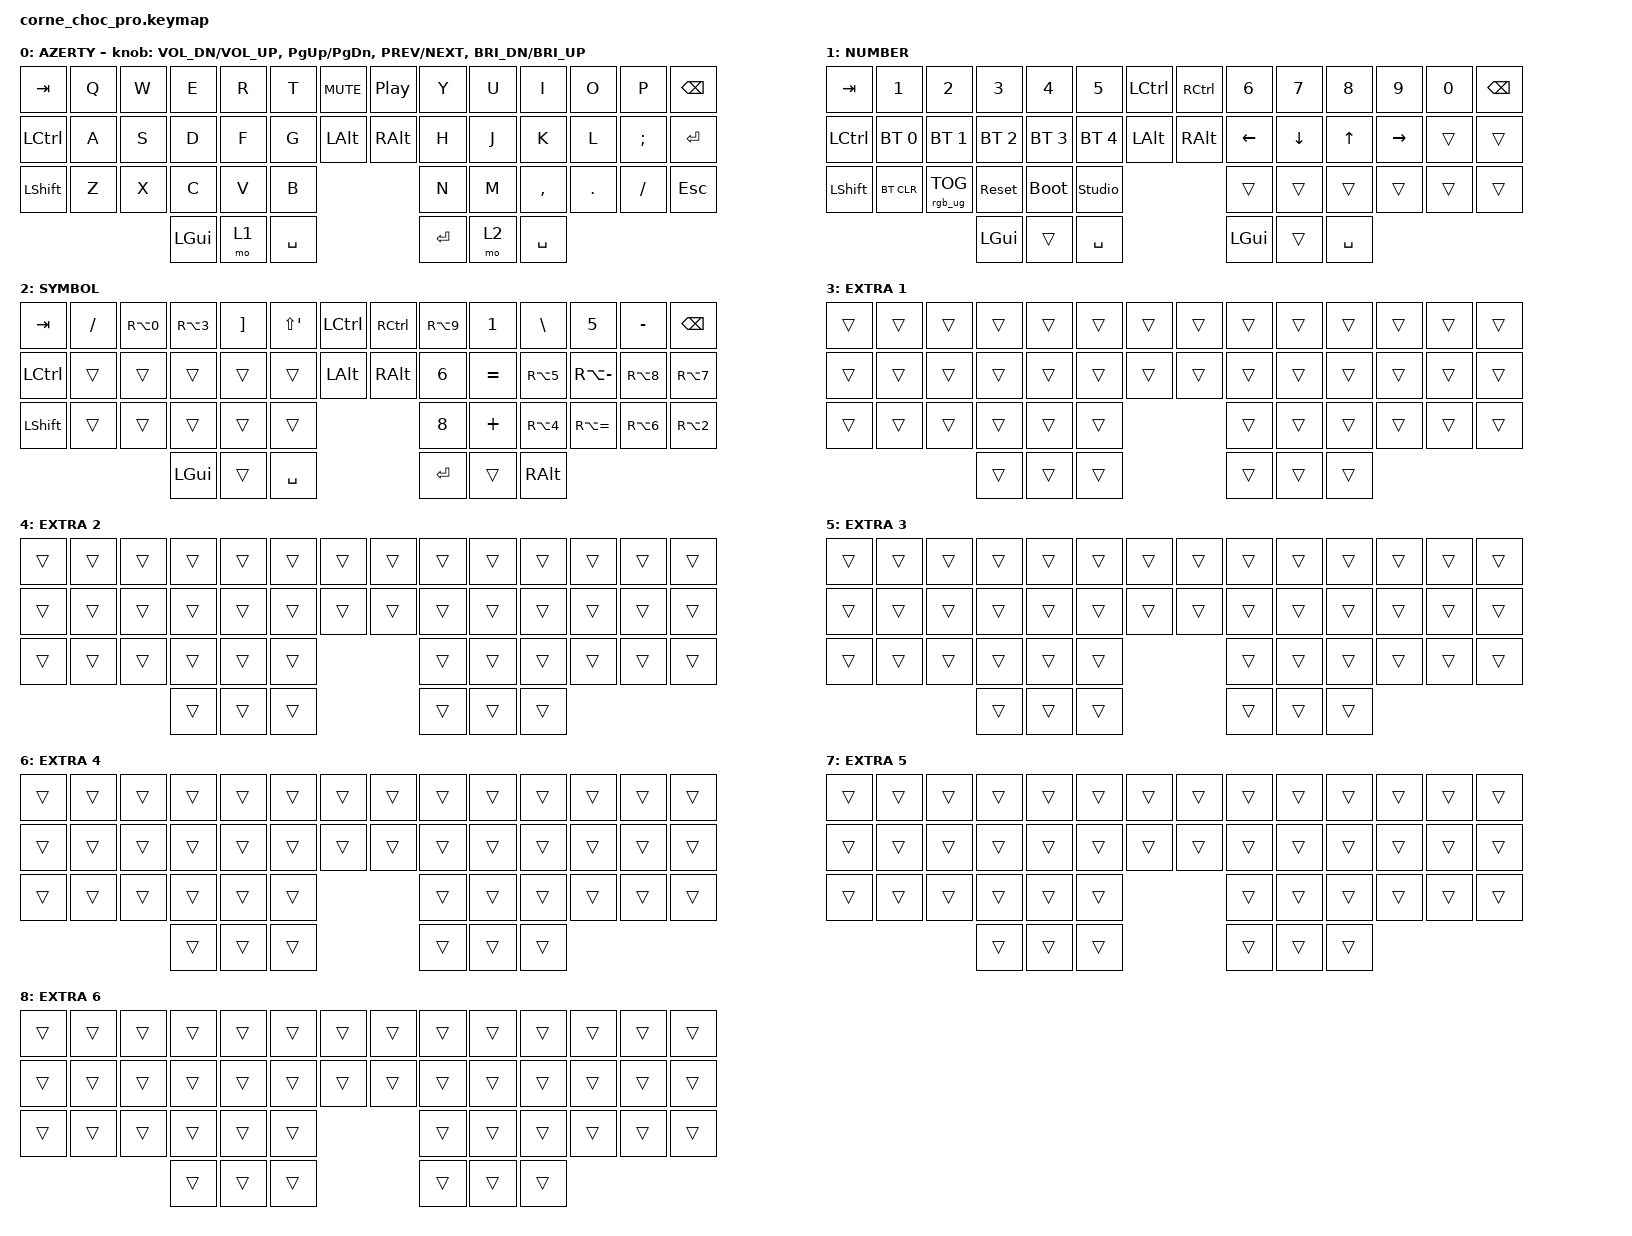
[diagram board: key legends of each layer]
/*
 * Copyright (c) 2020 The ZMK Contributors
 *
 * SPDX-License-Identifier: MIT
 */

#include <behaviors.dtsi>
#include <dt-bindings/zmk/keys.h>
#include <dt-bindings/zmk/bt.h>
#include <dt-bindings/zmk/rgb.h>

/ {
    chosen {
        zmk,physical-layout = &default_layout;
    };
};

/ {
    keymap {
        compatible = "zmk,keymap";

        default_layer {
            display-name = "AZERTY";
            // OS regle en francais (AZERTY) : le keymap envoie des codes QWERTY positionnels,
            // l'OS se charge de la conversion AZERTY (lettres, accents, symboles, AltGr...).
            // Caractere obtenu sur un OS francais indique entre parentheses.
            // --------------------------------------------------------------------------------
            // |  TAB | Q(a)| W(z)|  E  |  R  |  T  |  MUTE |  PP   |  Y  |  U  |  I  |  O  |  P  | BSPC |
            // | CTRL | A(q)|  S  |  D  |  F  |  G  |  LALT |  RALT |  H  |  J  |  K  |  L  |;(m) | ENT  |
            // | SHFT | Z(w)|  X  |  C  |  V  |  B  |               |  N  |M(,) |,(;) |.(:) |/(!) | ESC  |
            //                    | GUI | LWR | SPC |               | ENT | RSE | SPC |
            bindings = <
                &kp TAB   &kp Q &kp W &kp E &kp R &kp T &kp C_MUTE &kp C_PP &kp Y &kp U &kp I     &kp O   &kp P    &kp BSPC
                &kp LCTRL &kp A &kp S &kp D &kp F &kp G &kp LALT   &kp RALT &kp H &kp J &kp K     &kp L   &kp SEMI &kp RET
                &kp LSHFT &kp Z &kp X &kp C &kp V &kp B                     &kp N &kp M &kp COMMA &kp DOT &kp FSLH &kp ESC
                                      &kp LGUI &mo 1 &kp SPACE              &kp RET &mo 2 &kp SPACE
            >;
            sensor-bindings = <&inc_dec_kp C_VOL_DN C_VOL_UP &inc_dec_kp PG_UP PG_DN &inc_dec_kp C_PREV C_NEXT &inc_dec_kp C_BRI_DN C_BRI_UP>;
        };

        lower_layer {
            display-name = "NUMBER";
            // -----------------------------------------------------------------------------------------
            // |  TAB |  1  |  2  |  3  |  4  |  5    |  LCTRL | RCTRL |  6  |  7  |  8  |  9  |  0  | BSPC |
            // | CTRL | BT1 | BT2 | BT3 | BT4 | BT5   |  LALT  | RALT  | LFT | DWN |  UP | RGT |     |      |
            // | SHFT | BTCR| RGB | RST | BOOT| Unlock|        |       |     |     |     |     |     |      |
            //                    | GUI |     | SPC   |        | ENT   |     | ALT |
            bindings = <
                &kp TAB   &kp N1       &kp N2          &kp N3       &kp N4       &kp N5       &kp LCTRL &kp RCTRL &kp N6   &kp N7   &kp N8 &kp N9    &kp N0 &kp BSPC
                &kp LCTRL &bt BT_SEL 0 &bt BT_SEL 1    &bt BT_SEL 2 &bt BT_SEL 3 &bt BT_SEL 4 &kp LALT  &kp RALT  &kp LEFT &kp DOWN &kp UP &kp RIGHT &trans &trans
                &kp LSHFT &bt BT_CLR   &rgb_ug RGB_TOG &sys_reset   &bootloader  &studio_unlock                   &trans   &trans   &trans &trans    &trans &trans
                                                       &kp LGUI     &trans       &kp SPACE                        &kp LGUI &trans   &kp SPACE
            >;
        };

        raise_layer {
            display-name = "SYMBOL";
            // OS regle en francais (AZERTY) : chaque touche envoie la combinaison positionnelle
            // (souvent AltGr = RA) que l'OS francais interprete comme le symbole voulu.
            // Le symbole reellement produit est indique dans le commentaire ci-dessous.
            // -----------------------------------------------------------------------------------------
            // |  TAB |  !  |  @  |  #  |  $  |  %  | LCTRL | RCTRL |  ^  |  &  |  *  |  (  |  )  | BSPC |
            // | CTRL |     |     |     |     |     |  LALT | RALT  |  -  |  =  |  [  |  ]  |  \  |  `   |
            // | SHFT |     |     |     |     |     |               |  _  |  +  |  {  |  }  | "|" |  ~   |
            //                    | GUI |     | SPC |               | ENT |     | ALT |
            bindings = <
                &kp  TAB  &kp FSLH &kp RA(N0) &kp RA(N3) &kp RBKT  &kp LS(SQT) &kp LCTRL &kp RCTRL &kp RA(N9) &kp N1     &kp BSLH   &kp N5        &kp MINUS  &kp BSPC
                &kp LCTRL &trans   &trans     &trans     &trans    &trans      &kp LALT  &kp RALT  &kp N6     &kp EQUAL  &kp RA(N5) &kp RA(MINUS) &kp RA(N8) &kp RA(N7)
                &kp LSHFT &trans   &trans     &trans     &trans    &trans                          &kp N8     &kp PLUS   &kp RA(N4) &kp RA(EQUAL) &kp RA(N6) &kp RA(N2)
                                              &kp LGUI   &trans    &kp SPACE                       &kp RET    &trans     &kp RALT
            >;
        };

        extra_layer_1 {
            display-name = "EXTRA 1";
            bindings = <
                &trans &trans &trans &trans &trans &trans &trans &trans &trans &trans &trans &trans &trans &trans
                &trans &trans &trans &trans &trans &trans &trans &trans &trans &trans &trans &trans &trans &trans
                &trans &trans &trans &trans &trans &trans               &trans &trans &trans &trans &trans &trans
                                     &trans &trans &trans               &trans &trans &trans       
            >;
        };

        extra_layer_2 {
            display-name = "EXTRA 2";
            bindings = <
                &trans &trans &trans &trans &trans &trans &trans &trans &trans &trans &trans &trans &trans &trans
                &trans &trans &trans &trans &trans &trans &trans &trans &trans &trans &trans &trans &trans &trans
                &trans &trans &trans &trans &trans &trans               &trans &trans &trans &trans &trans &trans
                                     &trans &trans &trans               &trans &trans &trans       
            >;
        };

        extra_layer_3 {
            display-name = "EXTRA 3";
            bindings = <
                &trans &trans &trans &trans &trans &trans &trans &trans &trans &trans &trans &trans &trans &trans
                &trans &trans &trans &trans &trans &trans &trans &trans &trans &trans &trans &trans &trans &trans
                &trans &trans &trans &trans &trans &trans               &trans &trans &trans &trans &trans &trans
                                     &trans &trans &trans               &trans &trans &trans       
            >;
        };

        extra_layer_4 {
            display-name = "EXTRA 4";
            bindings = <
                &trans &trans &trans &trans &trans &trans &trans &trans &trans &trans &trans &trans &trans &trans
                &trans &trans &trans &trans &trans &trans &trans &trans &trans &trans &trans &trans &trans &trans
                &trans &trans &trans &trans &trans &trans               &trans &trans &trans &trans &trans &trans
                                     &trans &trans &trans               &trans &trans &trans       
            >;
        };

        extra_layer_5 {
            display-name = "EXTRA 5";
            bindings = <
                &trans &trans &trans &trans &trans &trans &trans &trans &trans &trans &trans &trans &trans &trans
                &trans &trans &trans &trans &trans &trans &trans &trans &trans &trans &trans &trans &trans &trans
                &trans &trans &trans &trans &trans &trans               &trans &trans &trans &trans &trans &trans
                                     &trans &trans &trans               &trans &trans &trans       
            >;
        };

        extra_layer_6 {
            display-name = "EXTRA 6";
            bindings = <
                &trans &trans &trans &trans &trans &trans &trans &trans &trans &trans &trans &trans &trans &trans
                &trans &trans &trans &trans &trans &trans &trans &trans &trans &trans &trans &trans &trans &trans
                &trans &trans &trans &trans &trans &trans               &trans &trans &trans &trans &trans &trans
                                     &trans &trans &trans               &trans &trans &trans       
            >;
        };
    };
};
